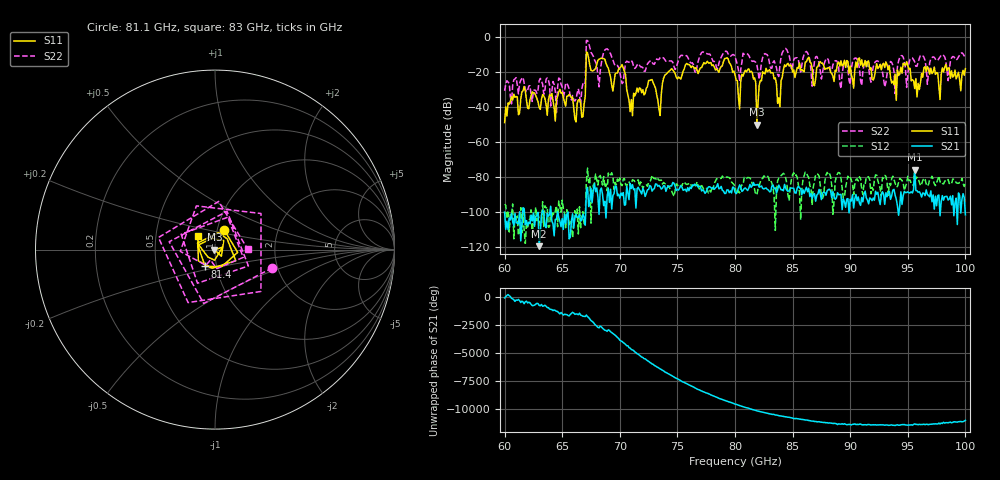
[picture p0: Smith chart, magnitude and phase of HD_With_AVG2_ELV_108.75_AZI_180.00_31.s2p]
! 11/25/2026 10:25:26 AM
! C:\ANRITSUVNA\TEMP\TEMP.S2P
! CHANNEL.1
! TR.MEASUREMENT
! RAW.DATA
# HZ S RI R 50.0
! FREQ.HZ  S11RE  S11IM  S21RE  S21IM  S12RE  S12IM  S22RE  S22IM
!; PortSelection: Port_12
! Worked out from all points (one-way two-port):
!   401 points, 60 GHz to 100 GHz, reference 50 ohm
!   highest |S21| = -75.58 dB at 95.6 GHz (marker M1); lowest = -119.5 dB at 63 GHz (marker M2)
!   lowest |S11| = -49.9 dB at 81.9 GHz (marker M3), VSWR 1.01, Z = 49.7 + j0.00161 ohm
!   |S11| at or under -10 dB: start of sweep to 67.09 GHz; 67.24 GHz to end of sweep
!   |S22| runs from -42.9 to -1.7 dB; largest |S21 - S12| = 0.00031
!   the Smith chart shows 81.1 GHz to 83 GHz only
!   S11 on the Smith chart (normalised r, x): 81.1 GHz: 1.08, +0.24; 81.4 GHz: 0.88, -0.17; 83 GHz: 0.82, +0.12
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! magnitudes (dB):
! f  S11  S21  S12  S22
! 60 GHz  -48.7  -100.0  -95.4  -30.5
! 63 GHz  -40.1  -119.5  -103.8  -24.8
! 66.7 GHz  -45.7  -104.5  -102.6  -29.5
! 67.3 GHz  -12.1  -96.8  -83.1  -3.2
! 68.4 GHz  -11.8  -86.2  -81.3  -14.7
! 68.9 GHz  -16.4  -91.2  -87.8  -6.5
! 70.3 GHz  -17.5  -88.8  -81.1  -25.5
! 70.9 GHz  -42.5  -83.6  -84.7  -13.5
! 72.7 GHz  -24.3  -85.3  -81.4  -13.3
! 73.4 GHz  -41.0  -84.7  -81.8  -12.6
! 74.4 GHz  -18.6  -84.9  -87.5  -13.4
! 80 GHz  -21.3  -88.5  -85.5  -11.0
! 81.1 GHz  -18.4  -87.6  -80.2  -9.5
! 81.4 GHz  -19.3  -85.8  -81.5  -13.0
! 81.9 GHz  -49.9  -84.4  -89.9  -15.7
! 83 GHz  -18.4  -88.3  -82.3  -14.8
! 83.8 GHz  -34.6  -84.5  -80.5  -22.4
! 84.4 GHz  -16.7  -86.2  -80.4  -6.3
! 86.7 GHz  -17.5  -92.3  -96.0  -27.9
! 93.4 GHz  -16.4  -88.1  -83.6  -15.6
! 95.6 GHz  -29.2  -75.6  -75.5  -13.9
! 100 GHz  -17.8  -101.5  -82.5  -12.1
